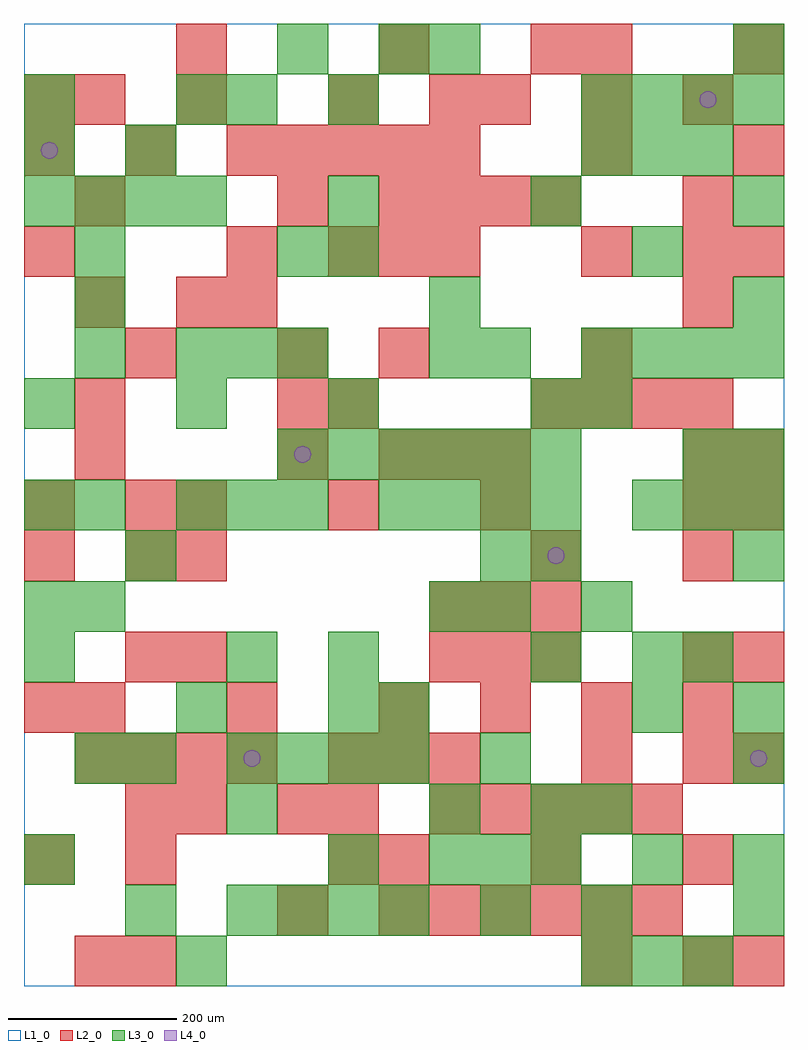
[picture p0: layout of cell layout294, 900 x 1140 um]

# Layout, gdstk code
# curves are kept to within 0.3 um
import gdstk
lib = gdstk.Library(unit=1e-6, precision=1e-09)
def R(c, l, rs):  # rectangles x0, y0, x1, y1
    for r in rs: c.add(gdstk.rectangle(r[:2], r[2:], *l))
def A(c, l, x, y, w, h, nx, ny, dx, dy):  # array of equal rectangles
    R(c, l, [(x+i*dx, y+j*dy, x+i*dx+w, y+j*dy+h) for i in range(nx) for j in range(ny)])
def P(c, l, *ps):  # polygons
    for p in ps: c.add(gdstk.Polygon(p, *l))
L1_0 = (1, 0)
L2_0 = (2, 0)
L3_0 = (3, 0)
L4_0 = (4, 0)

layout294 = lib.new_cell('layout294')
R(layout294, L1_0, [(0,0,900,1140)])
A(layout294, L2_0, 420, 60, 60, 60, 6, 1, 60, 0)
A(layout294, L2_0, 0, 120, 60, 60, 1, 3, 0, 180)
A(layout294, L2_0, 420, 120, 60, 60, 3, 1, 180, 0)
A(layout294, L2_0, 480, 180, 60, 60, 5, 1, 60, 0)
A(layout294, L2_0, 60, 240, 60, 60, 4, 1, 60, 0)
A(layout294, L2_0, 360, 240, 60, 60, 3, 2, 60, 600)
A(layout294, L2_0, 780, 240, 60, 60, 1, 3, 0, 120)
A(layout294, L2_0, 60, 300, 60, 60, 3, 1, 180, 0)
A(layout294, L2_0, 540, 300, 60, 60, 3, 2, 120, 720)
A(layout294, L2_0, 480, 360, 60, 60, 3, 2, 60, 60)
A(layout294, L2_0, 180, 540, 60, 60, 3, 1, 180, 0)
A(layout294, L2_0, 300, 600, 60, 60, 1, 3, 0, 60)
A(layout294, L2_0, 420, 600, 60, 60, 3, 1, 60, 0)
A(layout294, L2_0, 60, 660, 60, 60, 1, 4, 0, 120)
A(layout294, L2_0, 600, 660, 60, 60, 4, 1, 60, 0)
A(layout294, L2_0, 660, 720, 60, 60, 1, 4, 0, 120)
A(layout294, L2_0, 780, 780, 60, 60, 1, 3, 0, 60)
A(layout294, L2_0, 840, 840, 60, 60, 1, 3, 0, 120)
A(layout294, L2_0, 420, 900, 60, 60, 4, 1, 60, 0)
A(layout294, L2_0, 0, 960, 60, 60, 3, 1, 120, 0)
A(layout294, L2_0, 300, 960, 60, 60, 4, 1, 60, 0)
R(layout294, L2_0, [(60,0,120,60), (120,0,180,60), (660,0,720,60), (780,0,840,60), (840,0,900,60), (300,60,360,120), (120,120,180,180), (360,120,420,180), (120,180,180,240), (180,180,240,240), (300,180,360,240), (360,180,420,240), (660,240,720,300), (840,240,900,300), (120,360,180,420), (180,360,240,420), (840,360,900,420), (120,480,180,540), (180,480,240,540), (600,480,660,540), (0,540,60,600), (120,540,180,600), (780,540,840,600), (840,540,900,600), (60,600,120,660), (780,600,840,660), (840,600,900,660), (360,660,420,720), (120,720,180,780), (420,720,480,780), (180,780,240,840), (240,780,300,840), (0,840,60,900), (240,840,300,900), (300,900,360,960), (0,1020,60,1080), (180,1020,240,1080), (360,1020,420,1080), (480,1020,540,1080), (180,1080,240,1140), (420,1080,480,1140), (600,1080,660,1140)])
A(layout294, L3_0, 660, 0, 60, 60, 3, 2, 60, 960)
A(layout294, L3_0, 240, 60, 60, 60, 4, 2, 60, 180)
A(layout294, L3_0, 540, 60, 60, 60, 1, 3, 0, 180)
A(layout294, L3_0, 480, 120, 60, 60, 3, 1, 60, 0)
A(layout294, L3_0, 660, 180, 60, 60, 1, 3, 0, 240)
A(layout294, L3_0, 180, 540, 60, 60, 3, 2, 60, 180)
A(layout294, L3_0, 420, 540, 60, 60, 4, 1, 60, 0)
A(layout294, L3_0, 720, 540, 60, 60, 3, 1, 60, 0)
A(layout294, L3_0, 300, 600, 60, 60, 6, 1, 60, 0)
A(layout294, L3_0, 0, 660, 60, 60, 3, 1, 180, 0)
A(layout294, L3_0, 60, 720, 60, 60, 1, 3, 0, 60)
A(layout294, L3_0, 660, 720, 60, 60, 4, 2, 60, 300)
A(layout294, L3_0, 0, 900, 60, 60, 4, 1, 60, 0)
A(layout294, L3_0, 360, 900, 60, 60, 3, 1, 240, 0)
R(layout294, L3_0, [(180,0,240,60), (120,60,180,120), (660,60,720,120), (840,60,900,120), (0,120,60,180), (360,120,420,180), (720,120,780,180), (840,120,900,180), (240,180,300,240), (480,180,540,240), (600,180,660,240), (60,240,120,300), (120,240,180,300), (840,240,900,300), (180,300,240,360), (360,300,420,360), (420,300,480,360), (720,300,780,360), (840,300,900,360), (0,360,60,420), (240,360,300,420), (360,360,420,420), (600,360,660,420), (720,360,780,420), (780,360,840,420), (0,420,60,480), (60,420,120,480), (480,420,540,480), (120,480,180,540), (540,480,600,540), (600,480,660,540), (840,480,900,540), (0,540,60,600), (60,540,120,600), (780,600,840,660), (840,600,900,660), (600,660,660,720), (480,720,540,780), (540,720,600,780), (480,780,540,840), (840,780,900,840), (300,840,360,900), (360,840,420,900), (720,840,780,900), (0,960,60,1020), (120,960,180,1020), (0,1020,60,1080), (180,1020,240,1080), (240,1020,300,1080), (360,1020,420,1080), (300,1080,360,1140), (420,1080,480,1140), (480,1080,540,1140), (840,1080,900,1140)])
P(layout294, L4_0, [(40,990),(39.239,993.827),(37.071,997.071),(33.827,999.239),(30,1000),(26.173,999.239),(22.929,997.071),(20.761,993.827),(20,990),(20.761,986.173),(22.929,982.929),(26.173,980.761),(30,980),(33.827,980.761),(37.071,982.929),(39.239,986.173)],
  [(280,270),(279.239,273.827),(277.071,277.071),(273.827,279.239),(270,280),(266.173,279.239),(262.929,277.071),(260.761,273.827),(260,270),(260.761,266.173),(262.929,262.929),(266.173,260.761),(270,260),(273.827,260.761),(277.071,262.929),(279.239,266.173)],
  [(340,630),(339.239,633.827),(337.071,637.071),(333.827,639.239),(330,640),(326.173,639.239),(322.929,637.071),(320.761,633.827),(320,630),(320.761,626.173),(322.929,622.929),(326.173,620.761),(330,620),(333.827,620.761),(337.071,622.929),(339.239,626.173)],
  [(640,510),(639.239,513.827),(637.071,517.071),(633.827,519.239),(630,520),(626.173,519.239),(622.929,517.071),(620.761,513.827),(620,510),(620.761,506.173),(622.929,502.929),(626.173,500.761),(630,500),(633.827,500.761),(637.071,502.929),(639.239,506.173)],
  [(820,1050),(819.239,1053.827),(817.071,1057.071),(813.827,1059.239),(810,1060),(806.173,1059.239),(802.929,1057.071),(800.761,1053.827),(800,1050),(800.761,1046.173),(802.929,1042.929),(806.173,1040.761),(810,1040),(813.827,1040.761),(817.071,1042.929),(819.239,1046.173)],
  [(880,270),(879.239,273.827),(877.071,277.071),(873.827,279.239),(870,280),(866.173,279.239),(862.929,277.071),(860.761,273.827),(860,270),(860.761,266.173),(862.929,262.929),(866.173,260.761),(870,260),(873.827,260.761),(877.071,262.929),(879.239,266.173)])

lib.write_gds('layout294.gds')
